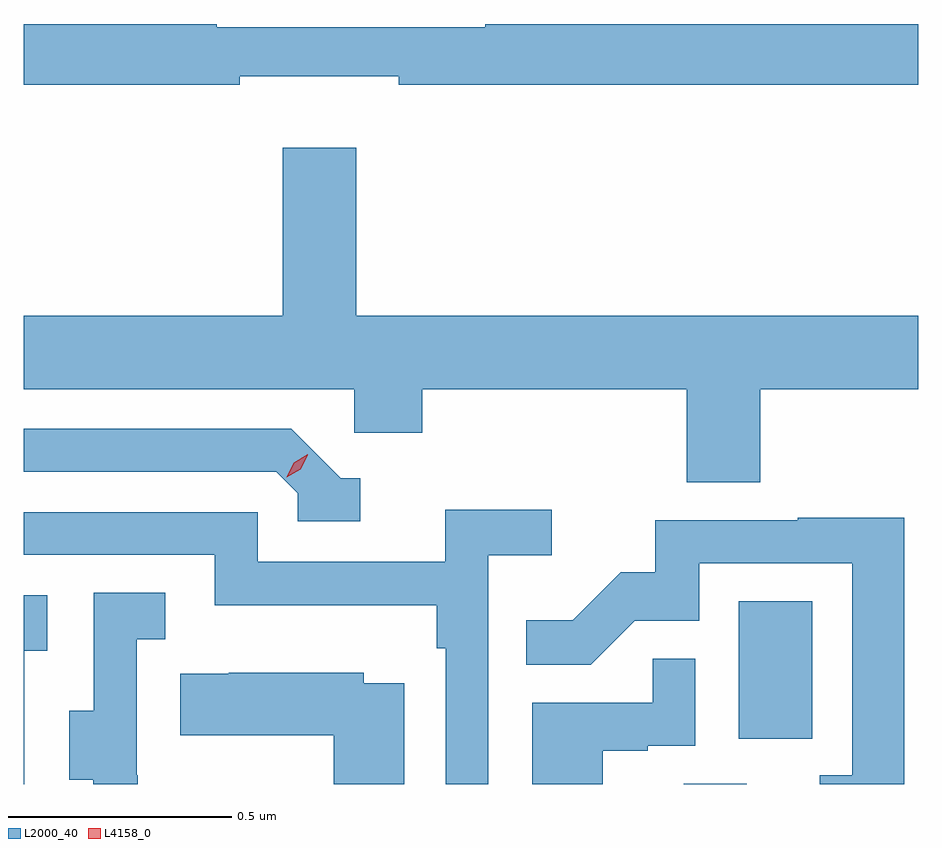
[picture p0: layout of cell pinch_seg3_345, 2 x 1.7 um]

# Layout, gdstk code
import gdstk
lib = gdstk.Library(unit=1e-6, precision=1e-09)
def R(c, l, rs):  # rectangles x0, y0, x1, y1
    for r in rs: c.add(gdstk.rectangle(r[:2], r[2:], *l))
def P(c, l, *ps):  # polygons
    for p in ps: c.add(gdstk.Polygon(p, *l))
L2000_40 = (2000, 40)
L4158_0 = (4158, 0)

pinch_seg3_345 = lib.new_cell('pinch_seg3_345')
R(pinch_seg3_345, L2000_40, [(957.113,718.681,957.253,718.682), (957.236,718.782,957.4,719.089)])
P(pinch_seg3_345, L2000_40, [(956.12,720.263),(956.476,720.263),(956.476,720.244),(957.637,720.244),(957.637,720.38),(956.669,720.38),(956.669,720.373),(956.069,720.373),(956.069,720.38),(955.637,720.38),(955.637,720.244),(956.12,720.244)],
  [(957.284,719.564),(957.637,719.564),(957.637,719.728),(956.38,719.728),(956.38,720.103),(956.216,720.103),(956.216,719.728),(955.637,719.728),(955.637,719.564),(956.376,719.564),(956.376,719.466),(956.528,719.466),(956.528,719.564),(957.119,719.564),(957.119,719.356),(957.284,719.356)],
  [(956.389,719.364),(956.346,719.364),(956.235,719.475),(955.637,719.475),(955.637,719.379),(956.202,719.379),(956.25,719.331),(956.25,719.268),(956.389,719.268)],
  [(956.676,719.192),(956.818,719.192),(956.818,719.294),(956.579,719.294),(956.579,719.178),(956.16,719.178),(956.16,719.289),(955.637,719.289),(955.637,719.193),(956.064,719.193),(956.064,719.081),(956.56,719.081),(956.56,718.985),(956.58,718.985),(956.58,718.681),(956.676,718.681)],
  [(957.605,719.276),(957.367,719.276),(957.367,719.271),(957.049,719.271),(957.049,719.154),(956.972,719.154),(956.865,719.047),(956.761,719.047),(956.761,718.948),(956.905,718.948),(957.003,719.046),(957.147,719.046),(957.147,719.175),(957.489,719.175),(957.489,718.701),(957.417,718.701),(957.417,718.681),(957.605,718.681)],
  [(955.892,718.701),(955.89,718.701),(955.89,719.005),(955.954,719.005),(955.954,719.108),(955.794,719.108),(955.794,718.845),(955.739,718.845),(955.739,718.69),(955.793,718.69),(955.793,718.681),(955.892,718.681)],
  [(955.638,718.979),(955.69,718.979),(955.69,719.103),(955.637,719.103),(955.637,718.681),(955.638,718.681)],
  [(956.932,718.755),(957.032,718.755),(957.032,718.767),(957.138,718.767),(957.138,718.961),(957.043,718.961),(957.043,718.863),(956.774,718.863),(956.774,718.681),(956.932,718.681)],
  [(956.488,718.906),(956.397,718.906),(956.397,718.93),(956.095,718.93),(956.095,718.927),(955.987,718.927),(955.987,718.79),(956.33,718.79),(956.33,718.681),(956.488,718.681)])
P(pinch_seg3_345, L4158_0, [(956.225,719.367),(956.225,719.367),(956.241,719.399),(956.272,719.418),(956.272,719.418),(956.272,719.417),(956.256,719.385),(956.225,719.367)])

lib.write_gds('pinch_seg3_345.gds')
